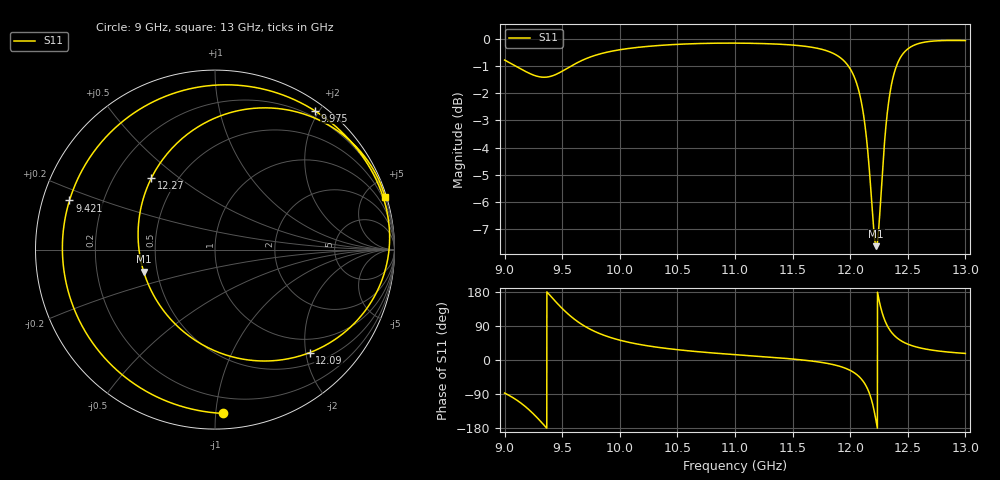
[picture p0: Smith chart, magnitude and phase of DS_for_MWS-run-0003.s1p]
! TOUCHSTONE file generated by CST DESIGN STUDIO
! Date and time: Tue Feb  4 17:47:14 2025
! Project name: C:\Work\MatlabApps\UnitCellOptimizationMatlab\CST\unitcell.cst
! Tree item: Tasks\Sweep1\SPara1\S-Parameters
! Header version: 2024
! Port assignment regex: !\s*Touchstone port\s*([0-9]+)\s*=\s*(CST MWS port|CST DES external port|CST DES block port)\s*(.+)\s* \(\"(.*)\"\)(\s*mode\s*([0-9]+))?.*
! Touchstone port assignment:
! Touchstone port 1 = CST DES external port 1 ("")
# GHz S MA R 50
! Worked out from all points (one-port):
!   4001 points, 9 GHz to 13 GHz, reference 50 ohm
!   lowest |S11| = -7.6 dB at 12.23 GHz (marker M1), VSWR 2.42, Z = 21 - j6.2 ohm
!   |S11| at or under -10 dB: nowhere
!   S11 on the Smith chart (normalised r, x): 9 GHz: 0.09, -1.04; 9.421 GHz: 0.08, +0.16; 9.975 GHz: 0.12, +1.94; 12.09 GHz: 0.71, -2.07; 12.27 GHz: 0.36, +0.40; 13 GHz: 0.17, +6.56
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9  0.9138 -87.3
9.114  0.8865 -107.6
9.208  0.8653 -130.3
9.324  0.85 -165.7
9.421  0.8558 161.3
9.5  0.8717 136.0
9.583  0.8922 113.1
9.676  0.9132 92.8
9.817  0.9364 70.7
9.975  0.9525 54.4
10  0.9544 52.3
10.214  0.9669 38.8
10.5  0.9765 27.2
11  0.9816 14.1
11.5  0.9736 2.6
11.831  0.9444 -10.7
12  0.8805 -27.4
12.089  0.7794 -47.5
12.166  0.5756 -87.4
12.195  0.4737 -116.8
12.226  0.416 -162.9
12.271  0.5333 131.7
12.307  0.6796 99.9
12.347  0.7991 77.9
12.415  0.9054 56.3
12.5  0.9578 41.9
12.679  0.988 27.6
13  0.9922 17.3
